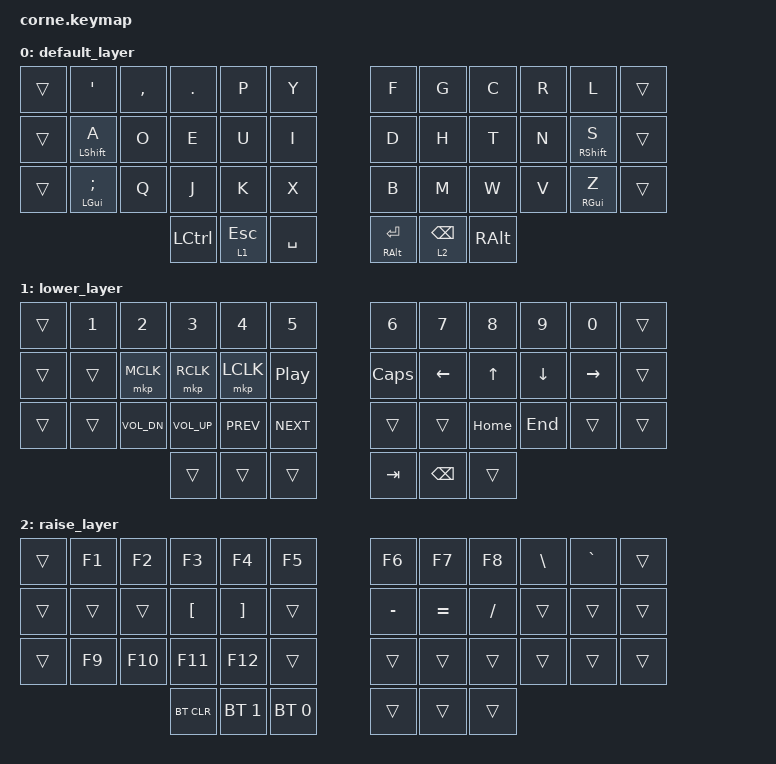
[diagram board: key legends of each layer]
/*
 * Copyright (c) 2020 The ZMK Contributors
 *
 * SPDX-License-Identifier: MIT
 */

#include <dt-bindings/zmk/keys.h>
#include <behaviors.dtsi>
#include <dt-bindings/zmk/bt.h>
#include <dt-bindings/zmk/mouse.h>

/ {

   behaviors {
        gqt: global-quick-tap {
            compatible = "zmk,behavior-hold-tap";
            label = "GLOBAL_QUICK_TAP";
            #binding-cells = <2>;
            flavor = "tap-preferred";
            tapping-term-ms = <200>;
            quick-tap-ms = <125>;
            global-quick-tap;
            bindings = <&kp>, <&kp>;
        };
    };
        keymap {
                compatible = "zmk,keymap";

                default_layer {
                        bindings = <
   &trans   &kp SQT          &kp COMMA   &kp DOT     &kp P       &kp Y              &kp F           &kp G        &kp C      &kp R   &kp L           &trans
   &trans   &gqt LSHIFT A    &kp O       &kp E       &kp U       &kp I              &kp D           &kp H        &kp T      &kp N   &gqt RSHIFT S   &trans
   &trans   &gqt LGUI SEMI   &kp Q       &kp J       &kp K       &kp X              &kp B           &kp M        &kp W      &kp V   &gqt RGUI Z     &trans
                                         &kp LCTRL   &lt 1 ESC   &kp SPACE          &gqt RALT RET   &lt 2 BSPC   &kp RALT
                        >;
                };
                lower_layer {
                        bindings = <
   &trans   &kp N1   &kp N2         &kp N3         &kp N4       &kp N5              &kp N6     &kp N7     &kp N8     &kp N9     &kp N0      &trans
   &trans   &trans   &mkp MCLK      &mkp RCLK      &mkp LCLK    &kp C_PP            &kp CLCK   &kp LEFT   &kp UP     &kp DOWN   &kp RIGHT   &trans
   &trans   &trans   &kp C_VOL_DN   &kp C_VOL_UP   &kp C_PREV   &kp C_NEXT          &trans     &trans     &kp HOME   &kp END    &trans      &trans
                          	        &trans         &trans       &trans              &kp TAB    &kp BACKSPACE   &trans
                        >;
                };

                raise_layer {
                        bindings = <
   &trans   &kp F1   &kp F2    &kp F3       &kp F4         &kp F5                &kp F6      &kp F7      &kp F8      &kp BSLH   &kp GRAVE   &trans
   &trans   &trans   &trans    &kp LBKT     &kp RBKT       &trans                &kp MINUS   &kp EQUAL   &kp SLASH   &trans     &trans      &trans
   &trans   &kp F9   &kp F10   &kp F11      &kp F12        &trans                &trans      &trans      &trans      &trans     &trans      &trans
                    	         &bt BT_CLR   &bt BT_SEL 1   &bt BT_SEL 0          &trans      &trans      &trans
                        >;
                };
       };
};
